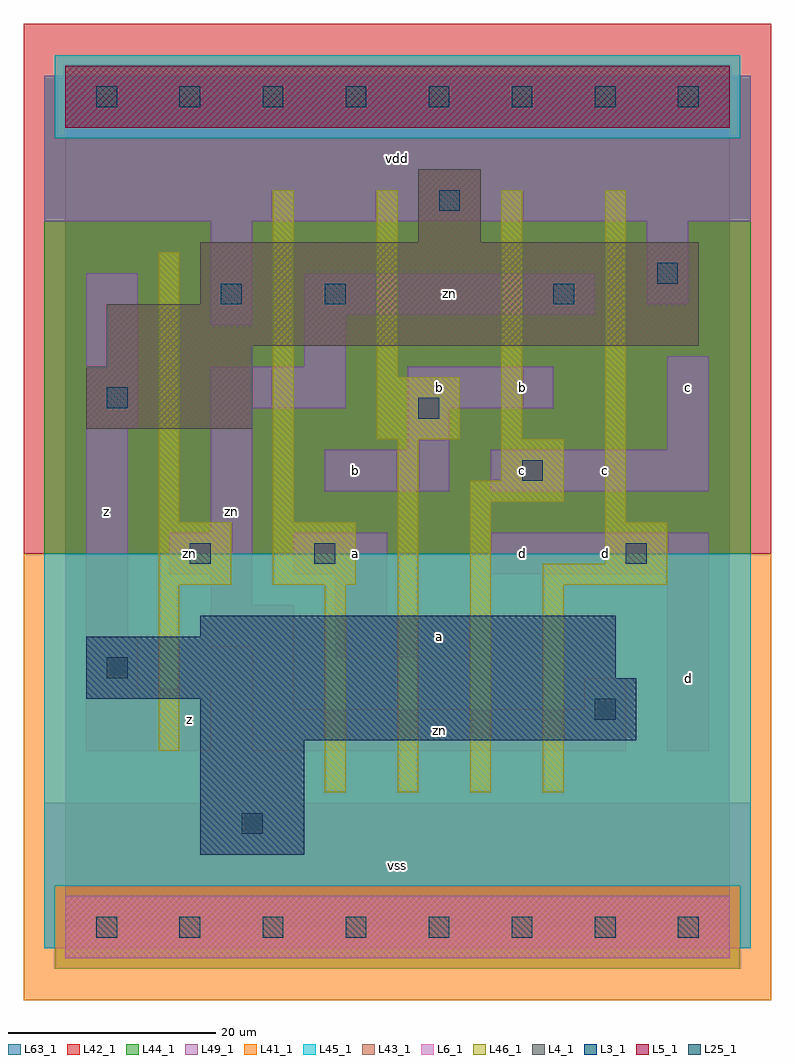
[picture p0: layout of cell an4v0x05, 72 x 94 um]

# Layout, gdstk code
import gdstk
lib = gdstk.Library(unit=1e-6, precision=1e-09)
def R(c, l, rs):  # rectangles x0, y0, x1, y1
    for r in rs: c.add(gdstk.rectangle(r[:2], r[2:], *l))
def A(c, l, x, y, w, h, nx, ny, dx, dy):  # array of equal rectangles
    R(c, l, [(x+i*dx, y+j*dy, x+i*dx+w, y+j*dy+h) for i in range(nx) for j in range(ny)])
L3_1 = (3, 1)
L4_1 = (4, 1)
L5_1 = (5, 1)
L6_1 = (6, 1)
L25_1 = (25, 1)
L41_1 = (41, 1)
L42_1 = (42, 1)
L43_1 = (43, 1)
L44_1 = (44, 1)
L45_1 = (45, 1)
L46_1 = (46, 1)
L49_1 = (49, 1)
L63_1 = (63, 1)

an4v0x05 = lib.new_cell('an4v0x05')
R(an4v0x05, L3_1, [(13,7,23,18), (13,18,55,22), (2,22,55,24), (2,24,53,28), (13,28,53,30)])
R(an4v0x05, L4_1, [(2,48,18,54), (4,54,18,56), (4,56,61,60), (13,60,61,66), (34,66,40,73)])
R(an4v0x05, L5_1, [(0,77,64,83)])
R(an4v0x05, L6_1, [(0,-3,64,3), (0,-3,64,3)])
A(an4v0x05, L25_1, 3, -1, 2, 2, 8, 2, 8, 80)
R(an4v0x05, L25_1, [(17,9,19,11), (51,20,53,22), (4,24,6,26), (12,35,14,37), (24,35,26,37), (54,35,56,37), (44,43,46,45), (34,49,36,51), (4,50,6,52), (15,60,17,62), (25,60,27,62), (47,60,49,62), (57,62,59,64), (36,69,38,71)])
R(an4v0x05, L41_1, [(-4,-7,68,36)])
R(an4v0x05, L42_1, [(-4,36,68,87)])
R(an4v0x05, L43_1, [(0,-3,64,3), (13,7,23,18), (13,18,55,22), (2,22,55,24), (2,24,53,28), (13,28,53,30), (2,48,18,54), (4,54,18,56), (4,56,61,60), (13,60,61,66), (34,66,40,73), (0,77,64,83)])
R(an4v0x05, L44_1, [(-1,-4,65,4), (-2,36,66,76), (-2,76,-1,82), (65,76,66,82)])
R(an4v0x05, L45_1, [(-2,-2,-1,4), (65,-2,66,4), (-2,4,66,36), (-1,76,65,84)])
R(an4v0x05, L46_1, [(25,13,27,33), (32,13,34,47), (39,13,41,41), (46,13,48,33), (9,17,11,33), (9,33,16,39), (20,33,28,39), (46,33,58,35), (52,35,58,39), (9,39,11,65), (20,39,22,71), (52,39,54,71), (39,41,48,43), (42,43,48,47), (30,47,38,53), (42,47,44,71), (30,53,32,71)])
R(an4v0x05, L49_1, [(-2,-2,66,12), (2,17,14,23), (18,17,54,21), (58,17,62,34), (18,21,22,27), (50,21,54,24), (2,23,7,28), (26,26,39,30), (14,27,22,31), (2,28,6,48), (26,30,31,34), (14,31,18,34), (10,34,18,38), (22,34,31,38), (41,34,62,38), (14,38,18,50), (25,42,37,46), (41,42,62,46), (33,46,37,50), (58,46,62,55), (2,48,7,63), (14,50,27,54), (33,50,47,54), (23,54,27,59), (14,58,18,68), (23,59,51,63), (56,60,60,68), (-2,68,66,82)])
R(an4v0x05, L63_1, [(0,0,64,80)])
an4v0x05.add(gdstk.Label('zn', (12,36), layer=49, texttype=1))
an4v0x05.add(gdstk.Label('z', (4,40), layer=49, texttype=1))
an4v0x05.add(gdstk.Label('z', (12,20), layer=49, texttype=1))
an4v0x05.add(gdstk.Label('zn', (16,40), layer=49, texttype=1))
an4v0x05.add(gdstk.Label('vss', (32,6), layer=49, texttype=1))
an4v0x05.add(gdstk.Label('a', (36,28), layer=49, texttype=1))
an4v0x05.add(gdstk.Label('a', (28,36), layer=49, texttype=1))
an4v0x05.add(gdstk.Label('b', (28,44), layer=49, texttype=1))
an4v0x05.add(gdstk.Label('b', (36,52), layer=49, texttype=1))
an4v0x05.add(gdstk.Label('vdd', (32,74), layer=49, texttype=1))
an4v0x05.add(gdstk.Label('c', (44,44), layer=49, texttype=1))
an4v0x05.add(gdstk.Label('d', (44,36), layer=49, texttype=1))
an4v0x05.add(gdstk.Label('b', (44,52), layer=49, texttype=1))
an4v0x05.add(gdstk.Label('zn', (37,61), layer=49, texttype=1))
an4v0x05.add(gdstk.Label('zn', (36,19), layer=49, texttype=1))
an4v0x05.add(gdstk.Label('d', (60,24), layer=49, texttype=1))
an4v0x05.add(gdstk.Label('d', (52,36), layer=49, texttype=1))
an4v0x05.add(gdstk.Label('c', (52,44), layer=49, texttype=1))
an4v0x05.add(gdstk.Label('c', (60,52), layer=49, texttype=1))

lib.write_gds('an4v0x05.gds')
